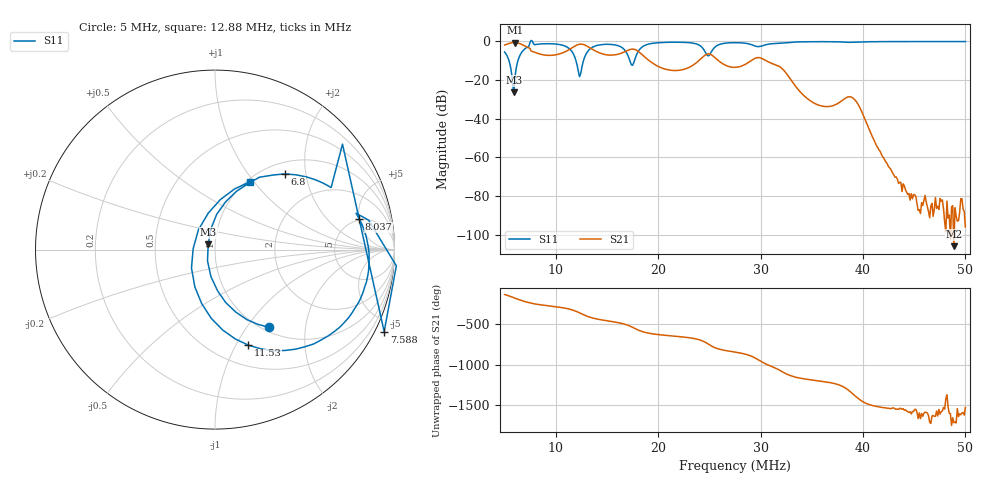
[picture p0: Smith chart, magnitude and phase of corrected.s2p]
! S11/S21 only; reverse parameters are placeholders. Device calibration unverified.
! [Saver CAL applied] C:\Users\aknya\MyProjects\rf-simulator\calibration2.cal | Ideal standards assumed | Input: NanoVNA F V2 profile | COM3 | 2026-09-08T12:09:45.6994733-04:00 | device calibration unverified
# HZ S RI R 50
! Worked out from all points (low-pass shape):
!   401 points, 5 MHz to 50 MHz, reference 50 ohm
!   highest |S21| = -0.69 dB at 6.013 MHz (marker M1); lowest = -105.9 dB at 48.88 MHz (marker M2)
!   |S21| within 3 dB of the highest: start of sweep to 7.464 MHz; 11.5 MHz to 13.43 MHz (1.929 MHz wide, 15.5 % of centre)
!   lowest |S11| = -26.4 dB at 5.9 MHz (marker M3), VSWR 1.10, Z = 46.3 + j2.76 ohm
!   |S11| at or under -10 dB: 5.422 MHz to 6.308 MHz (885.4 kHz wide, 15.1 % of centre); 11.96 MHz to 12.71 MHz (742.6 kHz wide, 6.02 % of centre); 17.23 MHz to 17.68 MHz (453.7 kHz wide, 2.6 % of centre)
!   S12 and S22 are empty: the file has one direction only
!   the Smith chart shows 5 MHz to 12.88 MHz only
!   S11 on the Smith chart (normalised r, x): 5 MHz: 1.07, -1.28; 6.8 MHz: 1.22, +1.53; 7.588 MHz: -0.46, -4.31; 8.037 MHz: 4.76, +5.04; 11.53 MHz: 0.72, -1.13; 12.88 MHz: 1.03, +0.95
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5000000  0.2999 -0.4327  -0.6051 -0.5215  0 0  0 0
5900000  -0.0376 0.0297  -0.9221 -0.0197  0 0  0 0
6012500  -0.0238 0.1128  -0.9217 0.0529  0 0  0 0
6800000  0.3882 0.4219  -0.6161 0.5029  0 0  0 0
7587500  0.9425 -0.4565  -0.2478 0.5047  0 0  0 0
8037500  0.8035 0.172  -0.1156 0.4929  0 0  0 0
1.1525e7  0.1863 -0.5326  0.5418 0.3783  0 0  0 0
1.25375e7  -0.0383 0.2024  0.8013 -0.2499  0 0  0 0
1.2875e7  0.1927 0.3769  0.6342 -0.4718  0 0  0 0
1.5125e7  0.8099 -0.1947  -0.1075 -0.4261  0 0  0 0
1.67e7  0.2235 -0.56  -0.4218 -0.3222  0 0  0 0
1.74875e7  -0.2326 0.0514  -0.6259 0.0171  0 0  0 0
1.8275e7  0.3473 0.5554  -0.3326 0.3594  0 0  0 0
2.0075e7  0.9099 0.1161  0.00952 0.2184  0 0  0 0
2.46875e7  0.3716 -0.29  0.4438 -0.0983  0 0  0 0
2.75e7  0.8325 -0.3841  -0.1259 -0.1702  0 0  0 0
3.02e7  0.6832 -0.3468  -0.1046 0.3353  0 0  0 0
3.50375e7  0.7021 -0.6704  -0.00902 -0.0254  0 0  0 0
3.90875e7  0.545 -0.766  0.0109 0.0311  0 0  0 0
4.2575e7  0.445 -0.8722  -6.28e-05 -0.00054  0 0  0 0
4.8875e7  0.2016 -0.96  3.88e-07 5.07e-06  0 0  0 0
5e7  0.1577 -0.9668  9.23e-07 -1.58e-05  0 0  0 0
